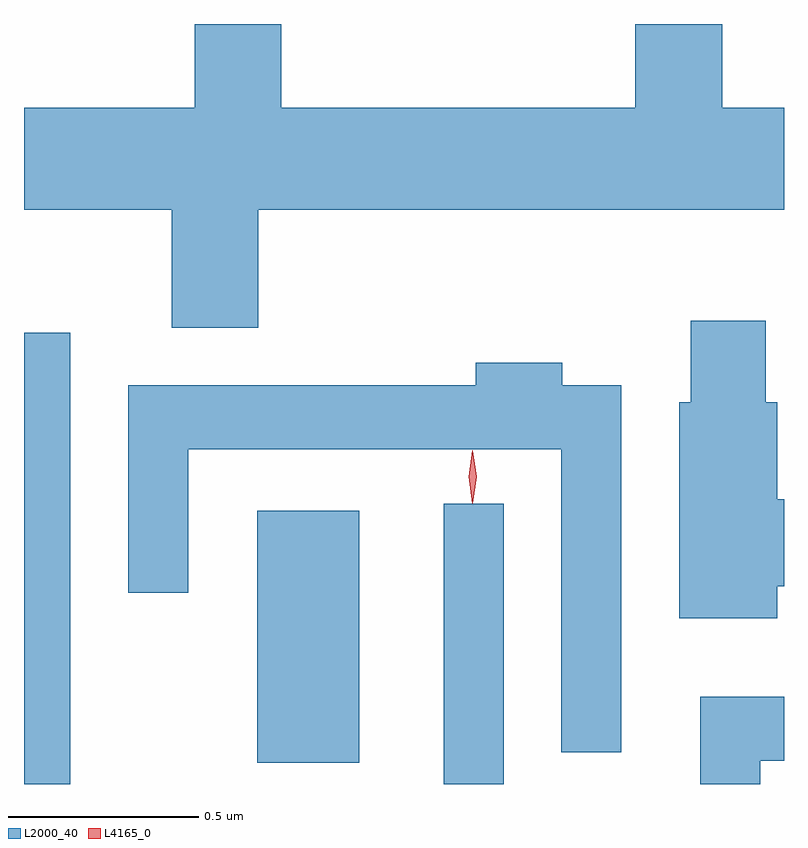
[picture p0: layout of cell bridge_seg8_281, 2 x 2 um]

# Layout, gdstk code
import gdstk
lib = gdstk.Library(unit=1e-6, precision=1e-09)
def R(c, l, rs):  # rectangles x0, y0, x1, y1
    for r in rs: c.add(gdstk.rectangle(r[:2], r[2:], *l))
def P(c, l, *ps):  # polygons
    for p in ps: c.add(gdstk.Polygon(p, *l))
L2000_40 = (2000, 40)
L4165_0 = (4165, 0)

bridge_seg8_281 = lib.new_cell('bridge_seg8_281')
R(bridge_seg8_281, L2000_40, [(1276.182,1812.705,1276.304,1813.893), (1277.286,1812.705,1277.444,1813.443), (1276.796,1812.761,1277.064,1813.424)])
P(bridge_seg8_281, L2000_40, [(1276.799,1814.216),(1278.182,1814.216),(1278.182,1814.484),(1278.019,1814.484),(1278.019,1814.705),(1277.791,1814.705),(1277.791,1814.484),(1276.859,1814.484),(1276.859,1814.705),(1276.631,1814.705),(1276.631,1814.484),(1276.182,1814.484),(1276.182,1814.216),(1276.571,1814.216),(1276.571,1813.906),(1276.799,1813.906)],
  [(1278.164,1813.226),(1278.182,1813.226),(1278.182,1813.454),(1278.164,1813.454),(1278.164,1813.709),(1278.134,1813.709),(1278.134,1813.924),(1277.936,1813.924),(1277.936,1813.709),(1277.906,1813.709),(1277.906,1813.141),(1278.164,1813.141)],
  [(1277.754,1813.754),(1277.599,1813.754),(1277.599,1813.814),(1277.371,1813.814),(1277.371,1813.754),(1276.456,1813.754),(1276.456,1813.208),(1276.614,1813.208),(1276.614,1813.586),(1277.596,1813.586),(1277.596,1812.788),(1277.754,1812.788)],
  [(1278.119,1812.766),(1278.182,1812.766),(1278.182,1812.934),(1277.961,1812.934),(1277.961,1812.705),(1278.119,1812.705)])
P(bridge_seg8_281, L4165_0, [(1277.362,1813.447),(1277.353,1813.514),(1277.362,1813.58),(1277.363,1813.58),(1277.363,1813.58),(1277.373,1813.514),(1277.363,1813.447),(1277.363,1813.447)],
  [(1277.363,1813.443),(1277.362,1813.444),(1277.353,1813.513),(1277.362,1813.582),(1277.363,1813.583),(1277.363,1813.582),(1277.373,1813.513),(1277.363,1813.444)])

lib.write_gds('bridge_seg8_281.gds')
